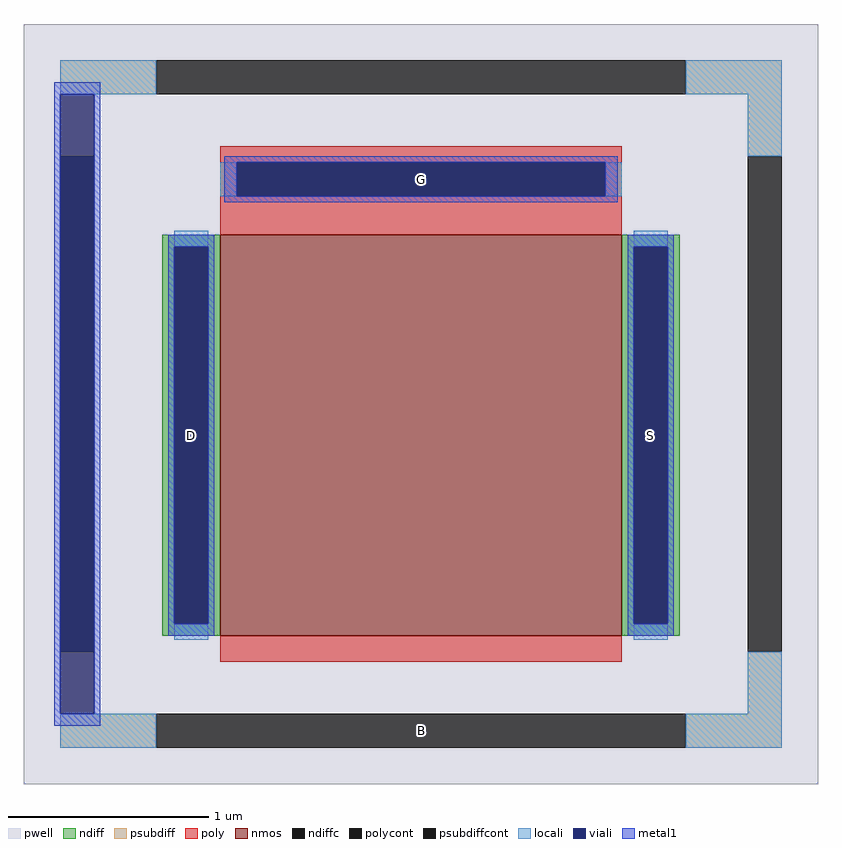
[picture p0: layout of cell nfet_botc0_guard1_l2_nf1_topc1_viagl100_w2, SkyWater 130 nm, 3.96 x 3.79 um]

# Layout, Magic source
magic
tech sky130A
magscale 1 2
<< pwell >>
rect -396 -379 396 379
<< nmos >>
rect -200 -231 200 169
<< ndiff >>
rect -258 157 -200 169
rect -258 -219 -246 157
rect -212 -219 -200 157
rect -258 -231 -200 -219
rect 200 157 258 169
rect 200 -219 212 157
rect 246 -219 258 157
rect 200 -231 258 -219
<< ndiffc >>
rect -246 -219 -212 157
rect 212 -219 246 157
<< psubdiff >>
rect -360 309 -264 343
rect 264 309 360 343
rect -360 247 -326 309
rect 326 247 360 309
rect -360 -309 -326 -247
rect 326 -309 360 -247
rect -360 -343 -264 -309
rect 264 -343 360 -309
<< psubdiffcont >>
rect -264 309 264 343
rect -360 -247 -326 247
rect 326 -247 360 247
rect -264 -343 264 -309
<< poly >>
rect -200 241 200 257
rect -200 207 -184 241
rect 184 207 200 241
rect -200 169 200 207
rect -200 -257 200 -231
<< polycont >>
rect -184 207 184 241
<< locali >>
rect -360 309 -264 343
rect 264 309 360 343
rect 326 247 360 309
rect -200 207 -184 241
rect 184 207 200 241
rect -246 157 -212 173
rect -246 -235 -212 -219
rect 212 157 246 173
rect 212 -235 246 -219
rect 326 -309 360 -247
rect -360 -343 -264 -309
rect 264 -343 360 -309
<< viali >>
rect -360 247 -326 309
rect -360 -247 -326 247
rect -184 207 184 241
rect -246 -219 -212 157
rect 212 -219 246 157
rect -360 -309 -326 -247
<< metal1 >>
rect -366 309 -320 321
rect -366 -309 -360 309
rect -326 -309 -320 309
rect -196 241 196 247
rect -196 207 -184 241
rect 184 207 196 241
rect -196 201 196 207
rect -252 157 -206 169
rect -252 -219 -246 157
rect -212 -219 -206 157
rect -252 -231 -206 -219
rect 206 157 252 169
rect 206 -219 212 157
rect 246 -219 252 157
rect 206 -231 252 -219
rect -366 -321 -320 -309
<< labels >>
rlabel psubdiffcont 0 -326 0 -326 0 B
port 1 nsew
rlabel ndiffc -229 -31 -229 -31 0 D
port 2 nsew
rlabel ndiffc 229 -31 229 -31 0 S
port 3 nsew
rlabel polycont 0 224 0 224 0 G
port 4 nsew
<< properties >>
string FIXED_BBOX -343 -326 343 326
string gencell sky130_fd_pr__nfet_01v8
string library sky130
string parameters w 2 l 2 m 1 nf 1 diffcov 100 polycov 100 guard 1 glc 1 grc 1 gtc 1 gbc 1 tbcov 100 rlcov 100 topc 1 botc 0 poverlap 0 doverlap 1 lmin 0.15 wmin 0.42 class mosfet compatible {sky130_fd_pr__nfet_01v8 sky130_fd_pr__nfet_01v8_lvt  sky130_fd_bs_flash__special_sonosfet_star  sky130_fd_pr__nfet_g5v0d10v5 sky130_fd_pr__nfet_05v0_nvt  sky130_fd_pr__nfet_03v3_nvt} full_metal 1 conn_gates 0 viasrc 100 viadrn 100 viagate 100 viagb 0 viagr 0 viagl 100 viagt 0 doports 1
<< end >>
